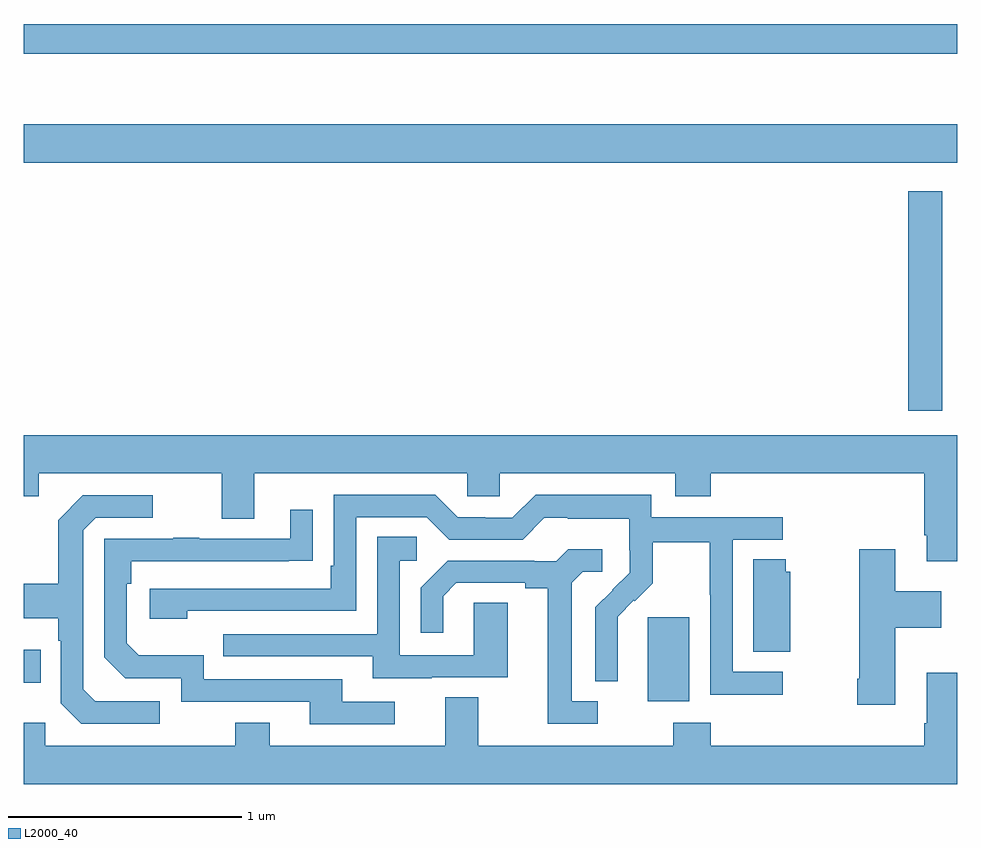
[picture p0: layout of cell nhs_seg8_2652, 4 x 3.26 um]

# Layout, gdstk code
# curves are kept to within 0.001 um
import gdstk
lib = gdstk.Library(unit=1e-6, precision=1e-09)
def R(c, l, rs):  # rectangles x0, y0, x1, y1
    for r in rs: c.add(gdstk.rectangle(r[:2], r[2:], *l))
def P(c, l, *ps):  # polygons
    for p in ps: c.add(gdstk.Polygon(p, *l))
L2000_40 = (2000, 40)

nhs_seg8_2652 = lib.new_cell('nhs_seg8_2652')
R(nhs_seg8_2652, L2000_40, [(279.674,1160.81,279.853,1161.171), (277,1160.891,277.073,1161.031), (280.79,1162.056,280.936,1162.996), (277,1163.12,281,1163.284), (277,1163.586,281,1163.714)])
P(nhs_seg8_2652, L2000_40, [(281,1161.952),(277,1161.952),(277,1161.689),(277.063,1161.689),(277.063,1161.788),(277.847,1161.788),(277.847,1161.594),(277.987,1161.594),(277.987,1161.788),(278.901,1161.788),(278.901,1161.69),(279.039,1161.69),(279.039,1161.788),(279.791,1161.788),(279.791,1161.689),(279.944,1161.689),(279.944,1161.788),(280.859,1161.788),(280.859,1161.523),(280.871,1161.523),(280.871,1161.411),(281,1161.411)],
  [(280.252,1160.937),(280.038,1160.937),(280.038,1161.504),(280.252,1161.504),(280.252,1161.6),(279.69,1161.6),(279.69,1161.697),(279.193,1161.697),(279.093,1161.597),(278.978,1161.597),(278.978,1161.6),(278.859,1161.6),(278.763,1161.696),(278.328,1161.696),(278.328,1161.391),(278.315,1161.391),(278.315,1161.294),(277.539,1161.294),(277.539,1161.164),(277.7,1161.164),(277.7,1161.198),(278.424,1161.198),(278.424,1161.6),(278.727,1161.6),(278.823,1161.504),(279.138,1161.504),(279.231,1161.597),(279.331,1161.597),(279.331,1161.593),(279.594,1161.593),(279.594,1161.459),(279.596,1161.459),(279.596,1161.362),(279.45,1161.214),(279.45,1160.896),(279.546,1160.896),(279.545,1161.173),(279.615,1161.243),(279.618,1161.24),(279.695,1161.317),(279.695,1161.492),(279.94,1161.492),(279.94,1161.268),(279.942,1161.268),(279.942,1160.839),(280.252,1160.839)],
  [(277.582,1160.811),(277.305,1160.811),(277.254,1160.862),(277.254,1161.543),(277.308,1161.597),(277.552,1161.597),(277.552,1161.693),(277.251,1161.693),(277.146,1161.587),(277.146,1161.315),(277,1161.315),(277,1161.167),(277.146,1161.167),(277.146,1161.071),(277.158,1161.071),(277.158,1160.802),(277.245,1160.715),(277.582,1160.715)],
  [(278.59,1160.808),(278.365,1160.808),(278.365,1160.904),(277.77,1160.904),(277.77,1161.007),(277.493,1161.007),(277.44,1161.06),(277.44,1161.314),(277.46,1161.314),(277.46,1161.411),(278.237,1161.412),(278.237,1161.631),(278.141,1161.631),(278.141,1161.507),(277.751,1161.507),(277.751,1161.512),(277.639,1161.512),(277.639,1161.507),(277.344,1161.507),(277.344,1161),(277.434,1160.91),(277.674,1160.91),(277.674,1160.808),(278.225,1160.808),(278.225,1160.712),(278.59,1160.712)],
  [(278.749,1160.913),(279.073,1160.913),(279.073,1161.233),(278.928,1161.233),(278.928,1161.009),(278.61,1161.009),(278.61,1161.414),(278.683,1161.414),(278.683,1161.515),(278.514,1161.515),(278.514,1161.099),(277.855,1161.099),(277.855,1161.003),(278.495,1161.003),(278.495,1160.909),(278.749,1160.909)],
  [(280.735,1161.125),(280.933,1161.125),(280.933,1161.283),(280.735,1161.283),(280.735,1161.463),(280.58,1161.463),(280.58,1160.908),(280.573,1160.908),(280.573,1160.796),(280.735,1160.796)],
  [(279.46,1160.811),(279.349,1160.811),(279.349,1161.319),(279.396,1161.366),(279.478,1161.366),(279.478,1161.463),(279.334,1161.463),(279.282,1161.411),(279.188,1161.411),(279.188,1161.414),(278.816,1161.414),(278.7,1161.298),(278.7,1161.105),(278.797,1161.105),(278.797,1161.261),(278.854,1161.318),(279.149,1161.318),(279.149,1161.296),(279.245,1161.296),(279.245,1160.715),(279.46,1160.715)],
  [(280.285,1161.366),(280.266,1161.366),(280.266,1161.419),(280.127,1161.419),(280.127,1161.022),(280.285,1161.022)],
  [(281,1160.932),(280.871,1160.932),(280.871,1160.716),(280.859,1160.716),(280.859,1160.62),(279.944,1160.62),(279.944,1160.719),(279.784,1160.719),(279.784,1160.62),(278.947,1160.62),(278.947,1160.828),(278.807,1160.828),(278.807,1160.62),(278.053,1160.62),(278.053,1160.719),(277.906,1160.719),(277.906,1160.62),(277.092,1160.62),(277.092,1160.719),(277,1160.719),(277,1160.456),(281,1160.456)])

lib.write_gds('nhs_seg8_2652.gds')
